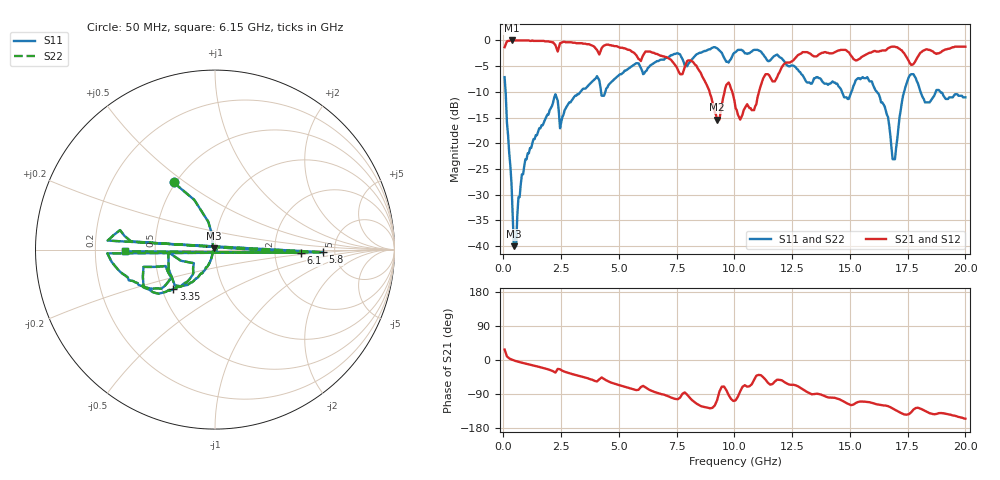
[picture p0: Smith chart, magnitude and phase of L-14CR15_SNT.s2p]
#	mhz	s	ma	r	50
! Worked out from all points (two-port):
!   400 points, 50 MHz to 20 GHz, reference 50 ohm
!   highest |S21| = 0.00 dB at 350 MHz (marker M1); lowest = -15.4 dB at 9.25 GHz (marker M2)
!   |S21| within 3 dB of the highest: start of sweep to 5.77 GHz; 17.96 GHz to end of sweep (the widest 2 of 6)
!   lowest |S11| = -40.0 dB at 450 MHz (marker M3), VSWR 1.02, Z = 49.3 + j0.683 ohm
!   |S11| at or under -10 dB: 93.12 MHz to 3.331 GHz (3.238 GHz wide, 189 % of centre); 16.17 GHz to 17.34 GHz (1.175 GHz wide, 7.01 % of centre); 18.92 GHz to end of sweep (the widest 3 of 6)
!   |S22| runs from -40.0 to -1.3 dB; largest |S21 - S12| = 0
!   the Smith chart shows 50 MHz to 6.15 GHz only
!   S11 on the Smith chart (normalised r, x): 50 MHz: 0.49, +0.45; 3.35 GHz: 0.57, -0.28; 5.8 GHz: 3.99, -0.18; 6.1 GHz: 2.84, -0.14; 6.15 GHz: 0.33, -0.01
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50  0.44 121.7  0.86 27.6  0.86 27.6  0.44 121.7
350  0.04 108.8  1 1.2  1 1.2  0.04 108.8
450  0.01 136.1  1 -1.0  1 -1.0  0.01 136.1
1300  0.11 -115.2  0.99 -14.6  0.99 -14.6  0.11 -115.2
3350  0.32 -136.4  0.94 -43.2  0.94 -43.2  0.32 -136.4
3400  0.33 -137.1  0.94 -44.0  0.94 -44.0  0.33 -137.1
5750  0.6 -178.0  0.72 -79.5  0.72 -79.5  0.6 -178.0
5800  0.6 -1.4  0.69 -79.1  0.69 -79.1  0.6 -1.4
5850  0.6 175.2  0.66 -78.6  0.66 -78.6  0.6 175.2
6050  0.47 174.4  0.72 -68.3  0.72 -68.3  0.47 174.4
6100  0.48 -2.2  0.75 -70.3  0.75 -70.3  0.48 -2.2
6150  0.5 -178.9  0.78 -72.4  0.78 -72.4  0.5 -178.9
6450  0.59 -180.0  0.76 -82.3  0.76 -82.3  0.59 -180.0
6500  0.6 -0.8  0.76 -83.4  0.76 -83.4  0.6 -0.8
6550  0.61 178.4  0.75 -84.6  0.75 -84.6  0.61 178.4
6700  0.63 175.1  0.73 -87.5  0.73 -87.5  0.63 175.1
9250  0.84 102.4  0.17 -106.0  0.17 -106.0  0.84 102.4
10050  0.77 107.6  0.22 -106.5  0.22 -106.5  0.77 107.6
13350  0.38 49.0  0.72 -90.4  0.72 -90.4  0.38 49.0
16700  0.15 -8.6  0.85 -123.1  0.85 -123.1  0.15 -8.6
17600  0.46 53.3  0.6 -140.6  0.6 -140.6  0.46 53.3
20000  0.28 -67.7  0.87 -154.9  0.87 -154.9  0.28 -67.7
